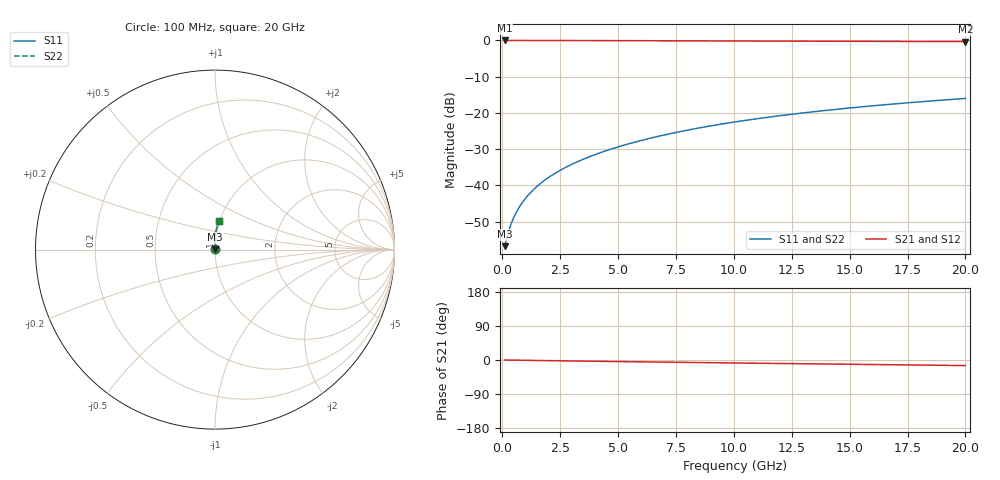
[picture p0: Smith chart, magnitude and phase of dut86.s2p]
! Touchstone file exported from HFSS 2024.1.0
!  File:  C:/UserFiles/LocalFiles/RDL_TSV_Batchsim/temp_RDL_bottom_86_1778694618.aedt
!  Generated:  01:52:38 AM May 14, 2026
!  Design:  RDL_bottom
!  Project:  temp_RDL_bottom_86_1778694618
!  Setup:  Setup1
!  Solution:  Sweep
! Variables:
!  dtsv = 10.80580581um
!  hbump = 3um
!  htsv = 85.56um
!  ldown = 169.52um
!  lrdl = 100um
!  p = 40
!  p1 = 54.72um
!  rhole = 1um
!  t = 450um
!  tdown = 2.42um
!  trdl = 3.915915916um
!  wdown = 28.06um
!  wrdl = 20um
# GHz S MA R 50.000000
! Terminal data exported
! Port[1] = RDL1_T1
! Port[2] = RDL1_T2
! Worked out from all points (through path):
!   200 points, 100 MHz to 20 GHz, reference 50 ohm
!   highest |S21| = -0.01 dB at 100 MHz (marker M1); lowest = -0.3 dB at 20 GHz (marker M2)
!   group delay of S21, straight-line fit = 2.02 ps
!   lowest |S11| = -56.7 dB at 100 MHz (marker M3), VSWR 1.00, Z = 50.1 + j0.0713 ohm
!   |S11| at or under -10 dB: start of sweep to end of sweep
!   |S22| runs from -56.7 to -16.0 dB; largest |S21 - S12| = 2.3e-15
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0.1  0.001457 29.2  0.9987 -0.1  0.9987 -0.1  0.001457 29.2
! Gamma 0 0 0 0
! Port Impedance 50 0 50 0
0.3  0.002479 56.8  0.9986 -0.3  0.9986 -0.3  0.002479 56.8
0.4  0.003062 62.8  0.9985 -0.4  0.9985 -0.4  0.003062 62.8
0.5  0.003651 66.9  0.9984 -0.4  0.9984 -0.4  0.003651 66.9
0.6  0.004242 69.9  0.9984 -0.5  0.9984 -0.5  0.004242 69.9
0.8  0.005433 74.3  0.9982 -0.7  0.9982 -0.7  0.005433 74.3
1  0.006639 77.4  0.9981 -0.9  0.9981 -0.9  0.006639 77.4
1.2  0.007862 79.7  0.9979 -1.0  0.9979 -1.0  0.007862 79.7
1.4  0.009102 81.5  0.9978 -1.2  0.9978 -1.2  0.009102 81.5
1.7  0.01099 83.6  0.9975 -1.5  0.9975 -1.5  0.01099 83.6
2.2  0.01422 86.0  0.9969 -1.9  0.9969 -1.9  0.01422 86.0
2.8  0.01821 88.0  0.9961 -2.4  0.9961 -2.4  0.01821 88.0
3.5  0.02305 89.6  0.995 -3.0  0.995 -3.0  0.02305 89.6
4.2  0.02808 90.6  0.9937 -3.5  0.9937 -3.5  0.02808 90.6
5  0.03404 91.2  0.9922 -4.2  0.9922 -4.2  0.03405 91.2
6.8  0.04818 91.5  0.9884 -5.5  0.9884 -5.5  0.04819 91.5
8.4  0.06133 90.9  0.9851 -6.7  0.9851 -6.7  0.06134 90.9
10.1  0.07563 89.8  0.9816 -7.9  0.9816 -7.9  0.07563 89.8
11.7  0.0892 88.5  0.9784 -9.0  0.9784 -9.0  0.08921 88.5
13.4  0.1036 87.0  0.9751 -10.2  0.9751 -10.2  0.1036 87.0
16.7  0.1313 84.1  0.9688 -12.5  0.9688 -12.5  0.1314 84.1
20  0.1585 81.2  0.9626 -14.7  0.9626 -14.7  0.1585 81.2
